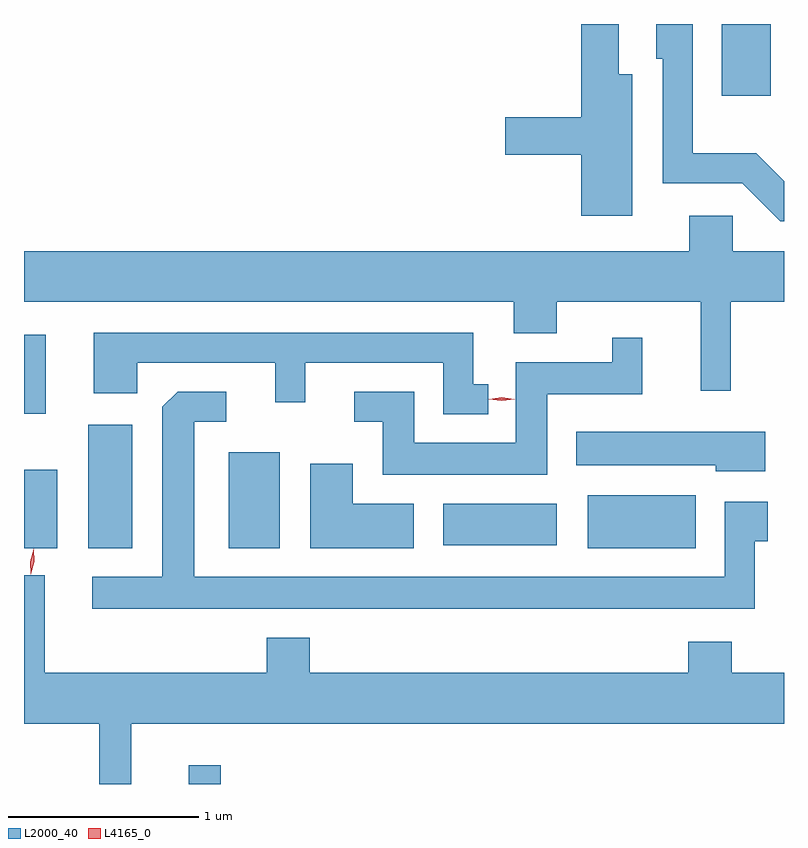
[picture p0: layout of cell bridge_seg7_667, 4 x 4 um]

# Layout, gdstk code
import gdstk
lib = gdstk.Library(unit=1e-6, precision=1e-09)
def R(c, l, rs):  # rectangles x0, y0, x1, y1
    for r in rs: c.add(gdstk.rectangle(r[:2], r[2:], *l))
def P(c, l, *ps):  # polygons
    for p in ps: c.add(gdstk.Polygon(p, *l))
L2000_40 = (2000, 40)
L4165_0 = (4165, 0)

bridge_seg7_667 = lib.new_cell('bridge_seg7_667')
R(bridge_seg7_667, L2000_40, [(963.961,1685.139,964.129,1685.238), (963.094,1686.381,963.269,1686.794), (963.431,1686.381,963.664,1687.029), (964.171,1686.381,964.439,1686.884), (966.061,1686.381,966.629,1686.659), (965.301,1686.396,965.899,1686.614), (963.094,1687.088,963.209,1687.504), (966.766,1688.761,967.024,1689.139)])
P(bridge_seg7_667, L2000_40, [(967.094,1688.312),(966.947,1688.459),(966.614,1688.459),(966.614,1689.139),(966.421,1689.139),(966.421,1688.956),(966.456,1688.956),(966.456,1688.301),(966.874,1688.301),(967.074,1688.101),(967.094,1688.101)],
  [(966.294,1688.874),(966.224,1688.874),(966.224,1689.139),(966.026,1689.139),(966.026,1688.649),(965.626,1688.649),(965.626,1688.451),(966.026,1688.451),(966.026,1688.131),(966.294,1688.131)],
  [(966.814,1687.676),(967.094,1687.676),(967.094,1687.944),(966.824,1687.944),(966.824,1688.129),(966.596,1688.129),(966.596,1687.944),(963.094,1687.944),(963.094,1687.676),(965.671,1687.676),(965.671,1687.511),(965.899,1687.511),(965.899,1687.676),(966.656,1687.676),(966.656,1687.208),(966.814,1687.208)],
  [(965.538,1687.244),(965.459,1687.244),(965.459,1687.514),(963.461,1687.514),(963.461,1687.196),(963.689,1687.196),(963.689,1687.356),(964.416,1687.356),(964.416,1687.148),(964.574,1687.148),(964.574,1687.356),(965.301,1687.356),(965.301,1687.086),(965.538,1687.086)],
  [(965.849,1687.191),(966.349,1687.191),(966.349,1687.488),(966.191,1687.488),(966.191,1687.359),(965.681,1687.359),(965.681,1686.934),(965.149,1686.934),(965.149,1687.204),(964.833,1687.204),(964.833,1687.046),(964.981,1687.046),(964.981,1686.766),(965.849,1686.766)],
  [(966.939,1686.416),(967.009,1686.416),(967.009,1686.624),(966.781,1686.624),(966.781,1686.229),(963.989,1686.229),(963.989,1687.046),(964.158,1687.046),(964.158,1687.204),(963.902,1687.204),(963.821,1687.124),(963.821,1686.229),(963.453,1686.229),(963.453,1686.061),(966.939,1686.061)],
  [(966.994,1686.994),(966.001,1686.994),(966.001,1686.816),(966.736,1686.816),(966.736,1686.786),(966.994,1686.786)],
  [(965.144,1686.614),(964.824,1686.614),(964.824,1686.824),(964.601,1686.824),(964.601,1686.381),(965.144,1686.381)],
  [(963.659,1685.456),(967.094,1685.456),(967.094,1685.724),(966.819,1685.724),(966.819,1685.889),(966.591,1685.889),(966.591,1685.724),(964.599,1685.724),(964.599,1685.909),(964.371,1685.909),(964.371,1685.724),(963.204,1685.724),(963.204,1686.238),(963.094,1686.238),(963.094,1685.456),(963.491,1685.456),(963.491,1685.139),(963.659,1685.139)])
P(bridge_seg7_667, L4165_0, [(965.608,1687.155),(965.539,1687.164),(965.539,1687.165),(965.539,1687.165),(965.608,1687.174),(965.678,1687.165),(965.678,1687.164),(965.678,1687.164)],
  [(963.129,1686.243),(963.129,1686.243),(963.127,1686.31),(963.144,1686.375),(963.145,1686.376),(963.145,1686.375),(963.147,1686.308),(963.13,1686.243)])

lib.write_gds('bridge_seg7_667.gds')
